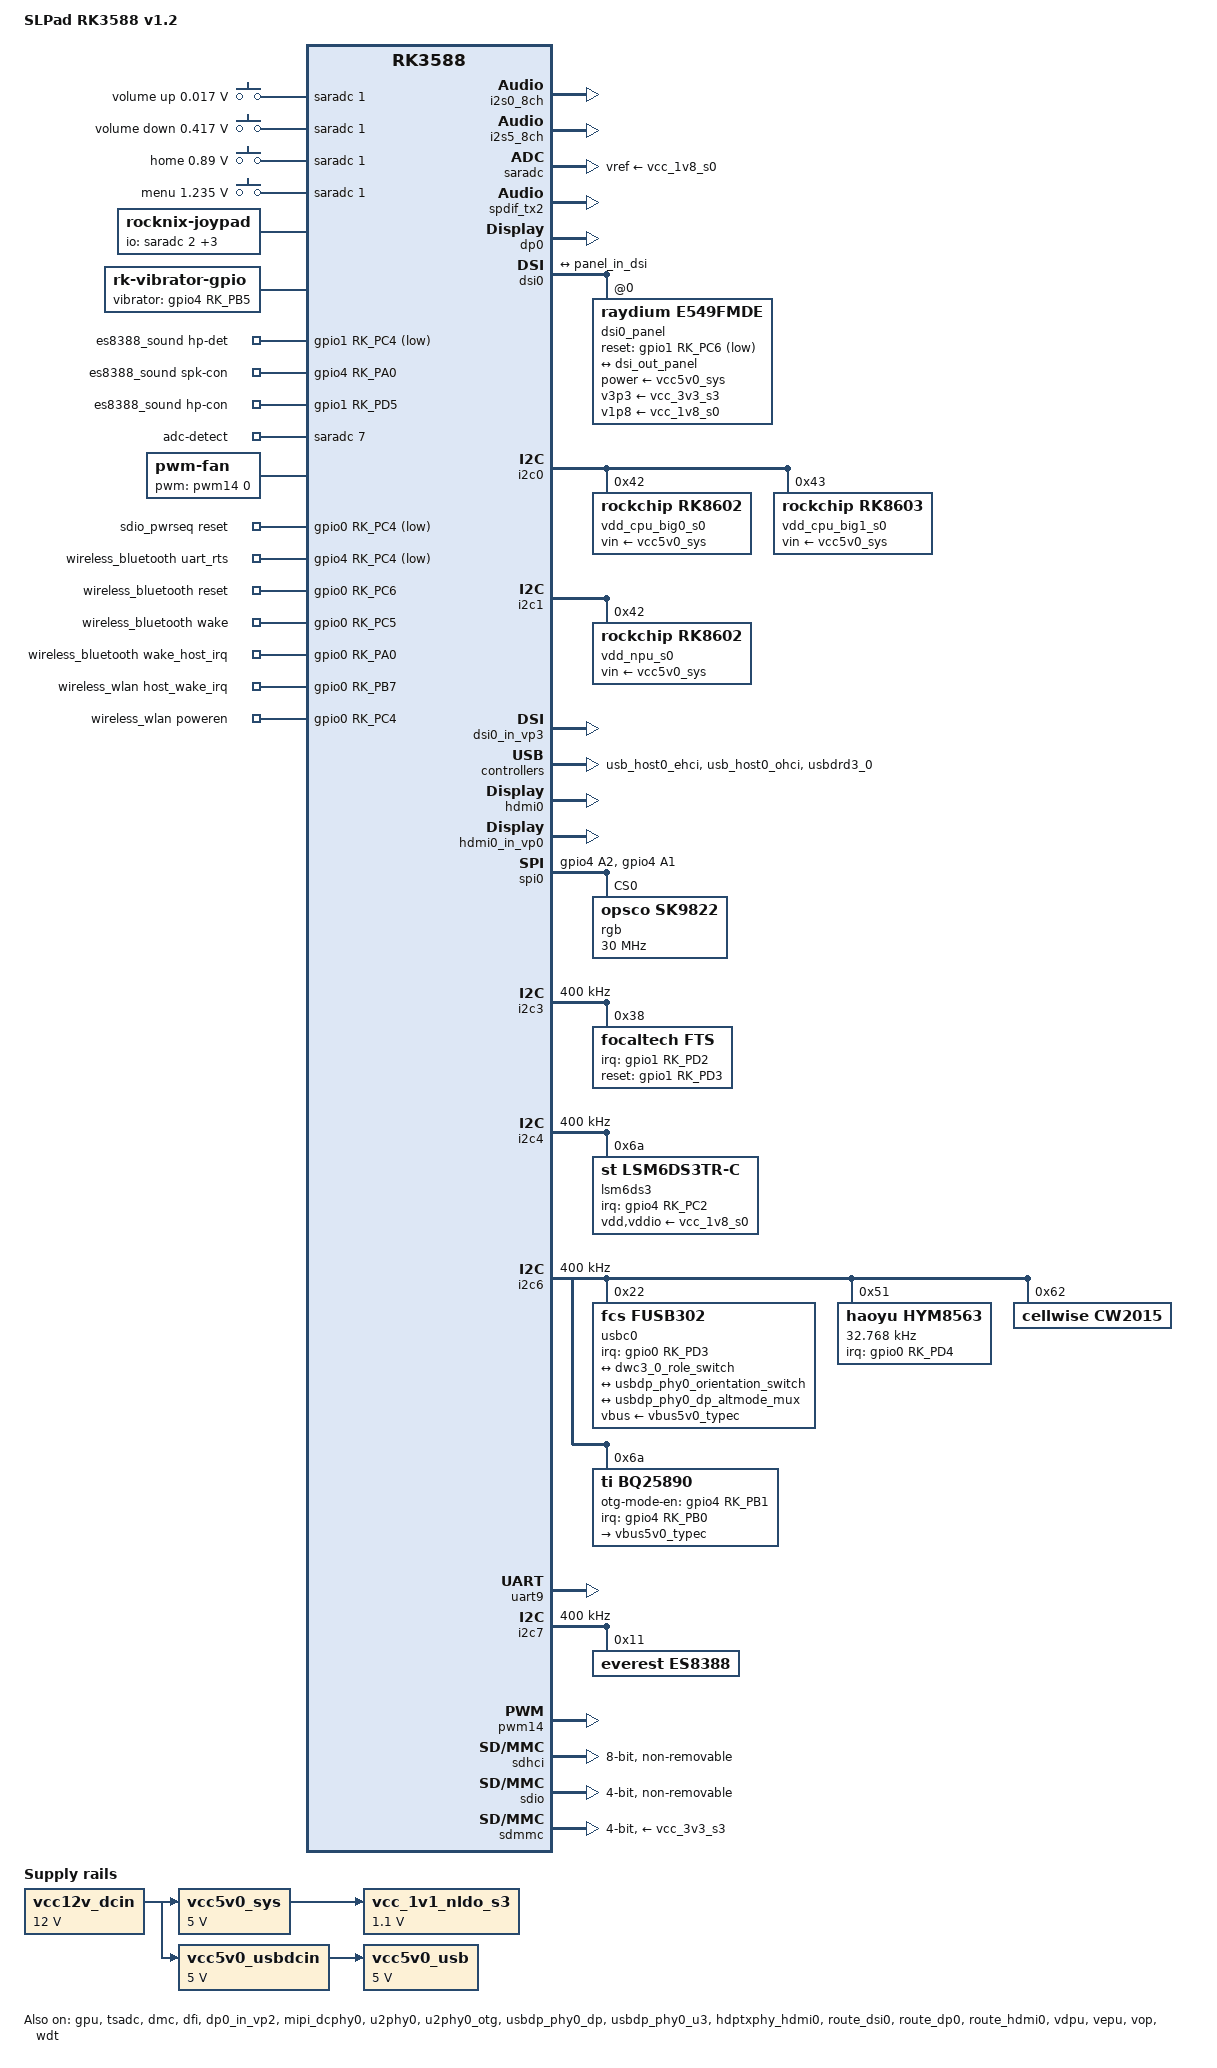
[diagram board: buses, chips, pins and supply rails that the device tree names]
// SPDX-License-Identifier: (GPL-2.0+ OR MIT)
/*
 * Copyright (c) 2021 Rockchip Electronics Co., Ltd.
 *
 */

/dts-v1/;
#include <dt-bindings/gpio/gpio.h>
#include <dt-bindings/pwm/pwm.h>
#include <dt-bindings/pinctrl/rockchip.h>
#include <dt-bindings/input/rk-input.h>
#include <dt-bindings/display/drm_mipi_dsi.h>
#include <dt-bindings/display/rockchip_vop.h>
#include <dt-bindings/sensor-dev.h>
#include "dt-bindings/usb/pd.h"
#include "dt-bindings/leds/common.h"
#include "rk3588.dtsi"
#include "rk3588-rk806-single.dtsi"
#include "rk3588-linux.dtsi"

/ {
	model = "SLPad RK3588 v1.2";
	compatible = "radxa,rock-5b", "rockchip,rk3588";
	
	/delete-node/ chosen;
	
	adc_keys: adc-keys {
		compatible = "adc-keys";
		io-channels = <&saradc 1>;
		io-channel-names = "buttons";
		keyup-threshold-microvolt = <1800000>;
		poll-interval = <100>;

		vol-up-key {
			label = "volume up";
			linux,code = <KEY_VOLUMEUP>;
			press-threshold-microvolt = <17000>;
		};

		vol-down-key {
			label = "volume down";
			linux,code = <KEY_VOLUMEDOWN>;
			press-threshold-microvolt = <417000>;
		};		

		home-key {
			label = "home";
			linux,code = <BTN_MODE>;
			press-threshold-microvolt = <890000>;
		};

		menu-key {
			label = "menu";
			linux,code = <KEY_APPSELECT>;
			press-threshold-microvolt = <1235000>;
		};
	};

	joypad: slpad-joypad {
		compatible = "rocknix-joypad";
		poll-interval = <10>;
		status = "okay";

		joypad-name = "Microsoft X-Box 360 pad";
		joypad-vendor = <0x045e>;
		joypad-product = <0x028e>;
		joypad-revision = <0x0503>;

		/* Analog sticks */
		io-channels = <&saradc 2>, <&saradc 3>, <&saradc 4>, <&saradc 5>;
		io-channel-names = "key-X", "key-Y", "key-RX", "key-RY";
		button-adc-scale = <4>;
		button-adc-deadzone = <150>;
		button-adc-fuzz = <32>;
		button-adc-flat = <32>;
		abs_x-p-tuning = <350>;
		abs_x-n-tuning = <350>;
		abs_y-p-tuning = <350>;
		abs_y-n-tuning = <350>;
		abs_rx-p-tuning = <350>;
		abs_rx-n-tuning = <350>;
		abs_ry-p-tuning = <350>;
		abs_ry-n-tuning = <350>;
		invert-absx;
		invert-absy;

		/* gpio pincontrol setup */
		pinctrl-names = "default";
		pinctrl-0 = <&btn_pins>;

		/* gpio button auto repeat set value : default disable */
		/*
			autorepeat;
		*/

		/*
						*** SLPad switch layout ***
		|-------------------------------------------------------|
		| sw15(b4) sw21(b6)                   sw20(b7) sw16(b5) |
		|-------------------------------------------------------|
		|        sw19(b12)|-------------------| sw22(b13)       |
		|                 |                   |                 |
		|     sw1(b8)     |                   |     sw8(b2)     |
		|sw3(b10) sw4(b11)|   OLED Display    | sw7(b3) sw5(b1) |
		|     sw2(b9)     |                   |     sw6(b0)     |
		|    sw11(b14)    |                   |    sw12(b15)    |
		|  menu(sys)      |-------------------|      home(sys)  |
		|                                                       |
		|-------------------------------------------------------|
		*/

		sw1 {
				gpios = <&gpio3 RK_PB0 GPIO_ACTIVE_LOW>;
				label = "GPIO DPAD-UP";
				linux,code = <ABS_HAT0Y>;
				linux,input-type = <EV_ABS>;
				linux,input-value = <0xffffffff>; /* -1 */
		};
		sw2 {
				gpios = <&gpio3 RK_PB1 GPIO_ACTIVE_LOW>;
				label = "GPIO DPAD-DOWN";
				linux,code = <ABS_HAT0Y>;
				linux,input-type = <EV_ABS>;
				linux,input-value= <1>;
		};
		sw3 {
				gpios = <&gpio3 RK_PB2 GPIO_ACTIVE_LOW>;
				label = "GPIO DPAD-LEFT";
				linux,code = <ABS_HAT0X>;
				linux,input-type = <EV_ABS>;
				linux,input-value = <0xffffffff>; /* -1 */
		};
		sw4 {
				gpios = <&gpio3 RK_PB3 GPIO_ACTIVE_LOW>;
				label = "GPIO DPAD-RIGHT";
				linux,code = <ABS_HAT0X>;
				linux,input-type = <EV_ABS>;
				linux,input-value= <1>;
		};
		sw5 {
				gpios = <&gpio3 RK_PA1 GPIO_ACTIVE_LOW>;
				label = "GPIO KEY BTN-A";
				linux,code = <BTN_SOUTH>;
		};
		sw6 {
				gpios = <&gpio3 RK_PA0 GPIO_ACTIVE_LOW>;
				label = "GPIO BTN-B";
				linux,code = <BTN_EAST>;
		};
		sw7 {
				gpios = <&gpio3 RK_PA2 GPIO_ACTIVE_LOW>;
				label = "GPIO BTN-Y";
				linux,code = <BTN_WEST>;
		};
		sw8 {
				gpios = <&gpio3 RK_PA3 GPIO_ACTIVE_LOW>;
				label = "GPIO BTN-X";
				linux,code = <BTN_NORTH>;
		};
		sw11 {
				gpios = <&gpio3 RK_PA6 GPIO_ACTIVE_HIGH>;
				label = "GPIO BTN-THUMBR";
				linux,code = <BTN_THUMBR>;
		};
		sw12 {
				gpios = <&gpio3 RK_PB6 GPIO_ACTIVE_HIGH>;
				label = "GPIO BTN-THUMBL";
				linux,code = <BTN_THUMBL>;
		};
		sw15 {
				gpios = <&gpio3 RK_PB4 GPIO_ACTIVE_LOW>;
				label = "GPIO BTN-L";
				linux,code = <BTN_TL>;
		};
		sw16 {
				gpios = <&gpio3 RK_PA4 GPIO_ACTIVE_LOW>;
				label = "GPIO BTN-R";
				linux,code = <BTN_TR>;
		};
		sw19 {
				gpios = <&gpio3 RK_PB7 GPIO_ACTIVE_LOW>;
				label = "GPIO BTN-SELECT";
				linux,code = <BTN_SELECT>;
		};
		sw20 {
				gpios = <&gpio3 RK_PA5 GPIO_ACTIVE_LOW>;
				label = "GPIO BTN-ZR";
				linux,code = <ABS_RZ>;
				linux,input-type = <EV_ABS>;
				linux,input-value= <255>;
		};
		sw21 {
				gpios = <&gpio3 RK_PB5 GPIO_ACTIVE_LOW>;
				label = "GPIO BTN-ZL";
				linux,code = <ABS_Z>;
				linux,input-type = <EV_ABS>;
				linux,input-value= <255>;
		};
		sw22 {
				gpios = <&gpio3 RK_PA7 GPIO_ACTIVE_LOW>;
				label = "GPIO BTN-START";
				linux,code = <BTN_START>;
		};
	};

	vibrator {
		compatible = "rk-vibrator-gpio";
		status = "okay";
		vibrator-gpio = <&gpio4 RK_PB5 GPIO_ACTIVE_HIGH>;
	};

	/* If hdmirx node is disabled, delete the reserved-memory node here. */
	// reserved-memory {
	// 	#address-cells = <2>;
	// 	#size-cells = <2>;
	// 	ranges;

	// 	/* Reserve 128MB memory for hdmirx-controller@fdee0000 */
	// 	cma {
	// 		compatible = "shared-dma-pool";
	// 		reusable;
	// 		reg = <0x0 (256 * 0x100000) 0x0 (128 * 0x100000)>;
	// 		linux,cma-default;
	// 	};
	// };

	es8388_sound: es8388-sound {
		status = "okay";
		compatible = "rockchip,multicodecs-card";
		rockchip,card-name = "rockchip-es8388";
		hp-det-gpio = <&gpio1 RK_PC4 GPIO_ACTIVE_LOW>;
		io-channels = <&saradc 7>;
		io-channel-names = "adc-detect";
		keyup-threshold-microvolt = <1800000>;
		poll-interval = <100>;
		spk-con-gpio = <&gpio4 RK_PA0 GPIO_ACTIVE_HIGH>;
		hp-con-gpio = <&gpio1 RK_PD5 GPIO_ACTIVE_HIGH>;
		rockchip,aw8733-mode = <3>;
		rockchip,format = "i2s";
		rockchip,mclk-fs = <256>;
		rockchip,cpu = <&i2s0_8ch>;
		rockchip,codec = <&es8388>;
		rockchip,audio-routing =
			"Headphone", "LOUT1",
			"Headphone", "ROUT1",
			"Speaker", "LOUT2",
			"Speaker", "ROUT2",
			"Headphone", "Headphone Power",
			"Headphone", "Headphone Power",
			"Speaker", "Speaker Power",
			"Speaker", "Speaker Power",
			"LINPUT1", "Main Mic",
			"LINPUT2", "Main Mic",
			"RINPUT1", "Headset Mic",
			"RINPUT2", "Headset Mic";
		pinctrl-names = "default";
		pinctrl-0 = <&hp_det>;
		play-pause-key {
			label = "playpause";
			linux,code = <KEY_PLAYPAUSE>;
			press-threshold-microvolt = <2000>;
		};
	};

	fan: pwm-fan {
		compatible = "pwm-fan";
		#cooling-cells = <2>;
		pwms = <&pwm14 0 50000 0>;
		cooling-levels = <0 70 130 180 200 255>;
		rockchip,temp-trips = <
			45000	1
			50000	2
			55000	3
			60000	4
			65000	5
		>;
	};

	charge-animation {
		compatible = "rockchip,uboot-charge";
		rockchip,uboot-charge-on = <1>;
		rockchip,android-charge-on = <0>;
		rockchip,uboot-low-power-voltage = <3300>;
		rockchip,screen-on-voltage = <3400>;
		rockchip,uboot-exit-charge-level = <2>;
		rockchip,uboot-exit-charge-auto = <1>;
		rockchip,system-suspend = <1>;
		regulator-on-in-mem = <&vdd_log_s0>, <&vcc_2v0_pldo_s3>,
			<&vdd2_ddr_s3>, <&vcc_1v8_s3>, <&avcc_1v8_s0>,
			<&vdd_0v75_s3>, <&pldo6_s3>, <&vcc_3v3_s3>;

		regulator-off-in-mem = <&vdd_gpu_s0>, <&vdd_npu_s0>,
			<&vdd_vdenc_s0>, <&vdd_gpu_mem_s0>, <&vdd_npu_mem_s0>,
			<&vdd_vdenc_mem_s0>, <&vcc_1v8_s0>, <&vcc_3v3_s0>,
			<&vccio_sd_s0>, <&avdd_0v75_s0>, <&vdd_0v85_s0>,
			<&vdd_cpu_big1_s0>, <&vdd_cpu_big0_s0>, <&vdd_cpu_lit_s0>,
			<&vdd_cpu_big1_mem_s0>, <&vdd_cpu_big0_mem_s0>, <&vdd_cpu_lit_mem_s0>,
			<&vddq_ddr_s0>, <&vdd_ddr_s0>, <&vdd_ddr_pll_s0>,
			<&avdd_1v2_s0>, <&vdd_0v75_s0>;
		status = "okay";
	};

	hdmi0_sound: hdmi0-sound {
		status = "okay";
		compatible = "rockchip,hdmi";
		rockchip,mclk-fs = <128>;
		rockchip,card-name = "rockchip-hdmi0";
		rockchip,cpu = <&i2s5_8ch>;
		rockchip,codec = <&hdmi0>;
		rockchip,jack-det;
	};

	hdmi1_sound: hdmi1-sound {
		status = "disabled";
		compatible = "rockchip,hdmi";
		rockchip,mclk-fs = <128>;
		rockchip,card-name = "rockchip-hdmi1";
		rockchip,cpu = <&i2s6_8ch>;
		rockchip,codec = <&hdmi1>;
		rockchip,jack-det;
	};

	dp0_sound: dp0-sound {
		status = "okay";
		compatible = "rockchip,hdmi";
		rockchip,card-name= "rockchip,dp0";
		rockchip,mclk-fs = <512>;
		rockchip,cpu = <&spdif_tx2>;
		rockchip,codec = <&dp0 1>;
		rockchip,jack-det;
	};

	vcc12v_dcin: vcc12v-dcin {
		compatible = "regulator-fixed";
		regulator-name = "vcc12v_dcin";
		regulator-always-on;
		regulator-boot-on;
		regulator-min-microvolt = <12000000>;
		regulator-max-microvolt = <12000000>;
	};

	vcc5v0_sys: vcc5v0-sys {
		compatible = "regulator-fixed";
		regulator-name = "vcc5v0_sys";
		regulator-always-on;
		regulator-boot-on;
		regulator-min-microvolt = <5000000>;
		regulator-max-microvolt = <5000000>;
		vin-supply = <&vcc12v_dcin>;
	};

	vcc_1v1_nldo_s3: vcc-1v1-nldo-s3 {
		compatible = "regulator-fixed";
		regulator-name = "vcc_1v1_nldo_s3";
		regulator-always-on;
		regulator-boot-on;
		regulator-min-microvolt = <1100000>;
		regulator-max-microvolt = <1100000>;
		vin-supply = <&vcc5v0_sys>;
	};

	vcc5v0_usbdcin: vcc5v0-usbdcin {
		compatible = "regulator-fixed";
		regulator-name = "vcc5v0_usbdcin";
		regulator-always-on;
		regulator-boot-on;
		regulator-min-microvolt = <5000000>;
		regulator-max-microvolt = <5000000>;
		vin-supply = <&vcc12v_dcin>;
	};

	vcc5v0_usb: vcc5v0-usb {
		compatible = "regulator-fixed";
		regulator-name = "vcc5v0_usb";
		regulator-always-on;
		regulator-boot-on;
		regulator-min-microvolt = <5000000>;
		regulator-max-microvolt = <5000000>;
		vin-supply = <&vcc5v0_usbdcin>;
	};

	sdio_pwrseq: sdio-pwrseq {
		compatible = "mmc-pwrseq-simple";
		clocks = <&hym8563>;
		clock-names = "ext_clock";
		pinctrl-names = "default";
		pinctrl-0 = <&wifi_enable_h>;
		/*
		 * On the module itself this is one of these (depending
		 * on the actual card populated):
		 * - SDIO_RESET_L_WL_REG_ON
		 * - PDN (power down when low)
		 */
		post-power-on-delay-ms = <200>;
		reset-gpios = <&gpio0 RK_PC4 GPIO_ACTIVE_LOW>;
	};

	wireless_bluetooth: wireless-bluetooth {
		compatible = "bluetooth-platdata";
		clocks = <&hym8563>;
		clock-names = "ext_clock";
		uart_rts_gpios = <&gpio4 RK_PC4 GPIO_ACTIVE_LOW>;
		pinctrl-names = "default", "rts_gpio";
		pinctrl-0 = <&uart9m0_rtsn>,  <&bt_gpio>;
		pinctrl-1 = <&uart9_gpios>;
		BT,reset_gpio    = <&gpio0 RK_PC6 GPIO_ACTIVE_HIGH>;
		BT,wake_gpio     = <&gpio0 RK_PC5 GPIO_ACTIVE_HIGH>;
		BT,wake_host_irq = <&gpio0 RK_PA0 GPIO_ACTIVE_HIGH>;
		status = "okay";
	};

	wireless_wlan: wireless-wlan {
		compatible = "wlan-platdata";
		wifi_chip_type = "ap6398sv";
		pinctrl-names = "default";
		pinctrl-0 = <&wifi_host_wake_irq>;
		WIFI,host_wake_irq = <&gpio0 RK_PB7 GPIO_ACTIVE_HIGH>;
		WIFI,poweren_gpio = <&gpio0 RK_PC4 GPIO_ACTIVE_HIGH>;
		status = "okay";
	};
};

&i2s0_8ch {
	status = "okay";
	pinctrl-0 = <&i2s0_lrck
		     &i2s0_sclk
		     &i2s0_sdi0
		     &i2s0_sdo0>;
};

&i2s5_8ch {
	status = "okay";
};

&av1d_mmu {
	status = "okay";
};

&cpu_l0 {
	cpu-supply = <&vdd_cpu_lit_s0>;
	mem-supply = <&vdd_cpu_lit_mem_s0>;
};

&cpu_b0 {
	cpu-supply = <&vdd_cpu_big0_s0>;
	mem-supply = <&vdd_cpu_big0_mem_s0>;
};

&cpu_b2 {
	cpu-supply = <&vdd_cpu_big1_s0>;
	mem-supply = <&vdd_cpu_big1_mem_s0>;
};

&gpu {
	mali-supply = <&vdd_gpu_s0>;
	mem-supply = <&vdd_gpu_mem_s0>;
	status = "okay";
};

// &iep {
// 	status = "okay";
// };

// &iep_mmu {
// 	status = "okay";
// };

// &jpegd {
// 	status = "okay";
// };

// &jpegd_mmu {
// 	status = "okay";
// };

// &jpege_ccu {
// 	status = "okay";
// };

// &jpege0 {
// 	status = "okay";
// };

// &jpege0_mmu {
// 	status = "okay";
// };

// &jpege1 {
// 	status = "okay";
// };

// &jpege1_mmu {
// 	status = "okay";
// };

// &jpege2 {
// 	status = "okay";
// };

// &jpege2_mmu {
// 	status = "okay";
// };

// &jpege3 {
// 	status = "okay";
// };

// &jpege3_mmu {
// 	status = "okay";
// };

// &mpp_srv {
// 	status = "okay";
// };

// &rga3_core0 {
// 	status = "okay";
// };

// &rga3_0_mmu {
// 	status = "okay";
// };

// &rga3_core1 {
// 	status = "okay";
// };

// &rga3_1_mmu {
// 	status = "okay";
// };

// &rga2 {
// 	status = "okay";
// };

// &rknpu {
// 	rknpu-supply = <&vdd_npu_s0>;
// 	mem-supply = <&vdd_npu_mem_s0>;
// 	status = "okay";
// };

// &rknpu_mmu {
// 	status = "okay";
// };

// &rkvdec_ccu {
// 	status = "okay";
// };

// &rkvdec0 {
// 	status = "okay";
// };

// &rkvdec0_mmu {
// 	status = "okay";
// };

// &rkvdec1 {
// 	status = "okay";
// };

// &rkvdec1_mmu {
// 	status = "okay";
// };

// &rkvenc_ccu {
// 	status = "okay";
// };

// &rkvenc0 {
// 	status = "okay";
// };

// &rkvenc0_mmu {
// 	status = "okay";
// };

// &rkvenc1 {
// 	status = "okay";
// };

// &rkvenc1_mmu {
// 	status = "okay";
// };

&rockchip_suspend {
	status = "okay";
	rockchip,sleep-debug-en = <1>;
	rockchip,sleep-mode-config = <
		(0
		| RKPM_SLP_ARMOFF_LOGOFF
		| RKPM_SLP_PMU_PMUALIVE_32K
		| RKPM_SLP_PMU_DIS_OSC
		| RKPM_SLP_32K_EXT
		)
	>;
	rockchip,wakeup-config = <
		(0
		| RKPM_GPIO_WKUP_EN
		)
	>;
};

&saradc {
	status = "okay";
	vref-supply = <&vcc_1v8_s0>;
};

&tsadc {
	status = "okay";
};

&spdif_tx2 {
	status = "okay";
};

&dmc {
	center-supply = <&vdd_ddr_s0>;
	mem-supply = <&vdd_log_s0>;
	status = "okay";
};

&dfi {
	status = "okay";
};

&dp0 {
	status = "okay";
};

&dp0_in_vp2 {
	status = "okay";
};

/*
 * mipi_dcphy0 needs to be enabled
 * when dsi0 is enabled
 */
&mipi_dcphy0 {
	status = "okay";
};

&mipi_dcphy1 {
	status = "disabled";
};

&dsi0 {
	status = "okay";
	//rockchip,lane-rate = <1000>;
	dsi0_panel: panel@0 {
		status = "okay";
		compatible = "raydium,e549fmde";
		reg = <0>;
		power-supply = <&vcc5v0_sys>;
		cmd_later_reset = <0>;
		//backlight = <&backlight>;
		v3p3-supply = <&vcc_3v3_s3>;
		v1p8-supply = <&vcc_1v8_s0>;
		dsi-lanes = <4>;
		reset-gpios = <&gpio1 RK_PC6 GPIO_ACTIVE_LOW>;

		pinctrl-names = "default";
		pinctrl-0 = <&lcd_rst_gpio>;
		reset-delay-ms = <20>;
		init-delay-ms = <20>;
		enable-delay-ms = <120>;
		prepare-delay-ms = <120>;
		unprepare-delay-ms = <10>;
		disable-delay-ms = <60>;
		width-mm = <121>;
		height-mm = <68>;
		dsi,flags = <(MIPI_DSI_MODE_VIDEO | MIPI_DSI_MODE_VIDEO_BURST |
			MIPI_DSI_MODE_LPM | MIPI_DSI_MODE_EOT_PACKET)>;
		dsi,format = <MIPI_DSI_FMT_RGB888>;
		dsi,lanes  = <4>;
		panel-init-sequence = [
			15 00 02 FE 0E
			15 00 02 4B 00
			15 00 02 4C 0F
			15 00 02 4D 20
			15 00 02 4E 40
			15 00 02 4F 60
			15 00 02 50 A0
			15 00 02 51 C0
			15 00 02 52 E0
			15 00 02 53 FF

			15 00 02 FE 0D
			15 00 02 18 08
			15 00 02 42 01
			15 00 02 08 41
			15 00 02 46 02
			15 00 02 72 09

			15 00 02 FE 0A
			15 00 02 24 17
			15 00 02 04 07
			15 00 02 1A 0C
			15 00 02 0F 44

			15 00 02 FE 04
			15 00 02 00 0C
			15 00 02 0A E6
			15 00 02 0B 8C
			15 00 02 1A 12
			15 00 02 29 93
			15 00 02 2A 93
			15 00 02 2F 02
			15 00 02 31 02
			15 00 02 33 05
			15 00 02 37 2D
			15 00 02 38 3D
			15 00 02 3A 1E
			15 00 02 3B 1E
			15 00 02 3D 27
			15 00 02 3F 80
			15 00 02 40 40
			15 00 02 41 E0
			15 00 02 4F 3F
			15 00 02 50 1E

			15 00 02 FE 06
			15 00 02 00 CC
			15 00 02 05 05
			15 00 02 07 A2
			15 00 02 08 CC
			15 00 02 0D 03
			15 00 02 0F A2
			15 00 02 32 CC
			15 00 02 37 05
			15 00 02 39 83
			15 00 02 3A CC
			15 00 02 41 04
			15 00 02 43 83
			15 00 02 44 CC
			15 00 02 49 05
			15 00 02 4B A2
			15 00 02 4C CC
			15 00 02 51 03
			15 00 02 4B A2
			15 00 02 4C CC
			15 00 02 51 03
			15 00 02 53 A2
			15 00 02 75 CC
			15 00 02 7A 03
			15 00 02 7C 83
			15 00 02 7D CC
			15 00 02 82 02
			15 00 02 84 83
			15 00 02 85 EC
			15 00 02 86 0F
			15 00 02 87 FF
			15 00 02 88 00
			15 00 02 8A 02
			15 00 02 8C A2
			15 00 02 8D EA
			15 00 02 8E 01
			15 00 02 8F E8
			15 00 02 90 0A
			15 00 02 92 06
			15 00 02 93 A0
			15 00 02 94 A8
			15 00 02 95 EC
			15 00 02 96 0F
			15 00 02 97 FF
			15 00 02 98 00
			15 00 02 9A 02
			15 00 02 9C A2
			15 00 02 AC 04
			15 00 02 B1 12
			15 00 02 B2 17
			15 00 02 B3 17
			15 00 02 B4 17
			15 00 02 B5 17
			15 00 02 B6 11
			15 00 02 B7 08
			15 00 02 B8 09
			15 00 02 B9 06
			15 00 02 BA 07
			15 00 02 BB 17
			15 00 02 BC 17
			15 00 02 BD 17
			15 00 02 BE 17
			15 00 02 BF 17
			15 00 02 C0 17
			15 00 02 C1 17
			15 00 02 C2 17
			15 00 02 C3 17
			15 00 02 C4 0F
			15 00 02 C5 0E
			15 00 02 C6 00
			15 00 02 C7 01
			15 00 02 C8 10

			15 00 02 FE 00
			15 00 02 C2 08
			15 00 02 35 00
			39 00 03 44 03 80

			15 00 02 51 FF

			05 78 01 11
			05 64 01 29
		];

		panel-exit-sequence = [
			05 00 01 28
			05 00 01 10
		];

		disp_timings0: display-timings {
			native-mode = <&dsi0_timing0>;
			dsi0_timing0: timing0 {
				clock-frequency = <135000000>;
				hactive = <1080>;
				vactive = <1920>;
				hback-porch = <36>;
				hfront-porch = <26>;
				vback-porch = <16>;
				vfront-porch = <8>;
				hsync-len = <2>;
				vsync-len = <4>;
                hsync-active = <0>;
                vsync-active = <0>;
                de-active = <0>;
                pixelclk-active = <0>;
			};
		};

		ports {
			#address-cells = <1>;
			#size-cells = <0>;

			port@0 {
				reg = <0>;
				panel_in_dsi: endpoint {
					remote-endpoint = <&dsi_out_panel>;
				};
			};
		};
	};

	ports {
		#address-cells = <1>;
		#size-cells = <0>;

		port@1 {
			reg = <1>;
			dsi_out_panel: endpoint {
				remote-endpoint = <&panel_in_dsi>;
			};
		};
	};

};

&i2c0 {
	status = "okay";
	pinctrl-names = "default";
	pinctrl-0 = <&i2c0m2_xfer>;

	vdd_cpu_big0_s0: vdd_cpu_big0_mem_s0: rk8602@42 {
		compatible = "rockchip,rk8602";
		reg = <0x42>;
		vin-supply = <&vcc5v0_sys>;
		regulator-compatible = "rk860x-reg";
		regulator-name = "vdd_cpu_big0_s0";
		regulator-min-microvolt = <550000>;
		regulator-max-microvolt = <1050000>;
		regulator-ramp-delay = <2300>;
		rockchip,suspend-voltage-selector = <1>;
		regulator-boot-on;
		regulator-always-on;
		regulator-state-mem {
			regulator-off-in-suspend;
		};
	};

	vdd_cpu_big1_s0: vdd_cpu_big1_mem_s0: rk8603@43 {
		compatible = "rockchip,rk8603";
		reg = <0x43>;
		vin-supply = <&vcc5v0_sys>;
		regulator-compatible = "rk860x-reg";
		regulator-name = "vdd_cpu_big1_s0";
		regulator-min-microvolt = <550000>;
		regulator-max-microvolt = <1050000>;
		regulator-ramp-delay = <2300>;
		rockchip,suspend-voltage-selector = <1>;
		regulator-boot-on;
		regulator-always-on;
		regulator-state-mem {
			regulator-off-in-suspend;
		};
	};
};

&i2c1 {
	status = "okay";
	pinctrl-names = "default";
	pinctrl-0 = <&i2c1m2_xfer>;

	vdd_npu_s0: vdd_npu_mem_s0: rk8602@42 {
		compatible = "rockchip,rk8602";
		reg = <0x42>;
		vin-supply = <&vcc5v0_sys>;
		regulator-compatible = "rk860x-reg";
		regulator-name = "vdd_npu_s0";
		regulator-min-microvolt = <550000>;
		regulator-max-microvolt = <950000>;
		regulator-ramp-delay = <2300>;
		rockchip,suspend-voltage-selector = <1>;
		regulator-boot-on;
		regulator-always-on;
		regulator-state-mem {
			regulator-off-in-suspend;
		};
	};
};

&dsi0_in_vp3 {
	status = "okay";
};

&u2phy0 {
	status = "okay";
};

&u2phy0_otg {
	status = "okay";
	rockchip,typec-vbus-det;
};

&usb_host0_ehci {
	status = "okay";
};

&usb_host0_ohci {
	status = "okay";
};

&usbdp_phy0_dp {
	status = "okay";
};

&usbdp_phy0_u3 {
	status = "okay";
};

&usbdrd3_0 {
	status = "okay";
};

&hdmi0 {
	status = "okay";
};

&hdmi0_in_vp0 {
	status = "okay";
};

&hdptxphy_hdmi0 {
	status = "okay";
};

&spi0 {
    status = "okay";
    pinctrl-0 = <&spi0usr_pins>;
    
    rgb@0 {
        compatible = "opsco,sk9822";
		status = "okay";
        reg = <0>;
        spi-max-frequency = <30000000>;
        #address-cells = <1>;
		#size-cells = <0>;
		led@0 {
			reg = <0>;
			label = "led1";
		};
    };
};

&i2c3 {
	status = "okay";
	clock-frequency = <400000>;
	focaltech@38 {
		status = "okay";
		compatible = "focaltech,fts";
		reg = <0x38>;

		interrupt-parent = <&gpio1>;
		interrupts = <RK_PD2 IRQ_TYPE_EDGE_FALLING>;

		pinctrl-names = "default";
		pinctrl-0 = <&tp_gpio>;

		focaltech,irq-gpio = <&gpio1 RK_PD2 IRQ_TYPE_EDGE_FALLING>;
		focaltech,reset-gpio = <&gpio1 RK_PD3 GPIO_ACTIVE_HIGH>;
		focaltech,max-touch-number = <6>;
		focaltech,display-coords =  <0 0 1079 1919>;
		focaltech,touchscreen-inverted-x;
		focaltech,touchscreen-inverted-y;
	};
};

&i2c4 {
	status = "okay";
	clock-frequency = <400000>;
	pinctrl-names = "default";
	pinctrl-0 = <&i2c4m1_xfer>;

	lsm6ds3@6a {
		compatible = "st,lsm6ds3tr-c";
		status = "okay";
		reg = <0x6a>;
		interrupt-parent = <&gpio4>;
		interrupts = <RK_PC2 IRQ_TYPE_LEVEL_HIGH>;
		pinctrl-names = "default";
		pinctrl-0 = <&gyr_int_l>;
		vdd-supply = <&vcc_1v8_s0>;
		vddio-supply = <&vcc_1v8_s0>;
		st,drdy-int-pin = <1>;
		st,module_id = <5>;
	};
};

&i2c6 {
	status = "okay";
	clock-frequency = <400000>;
	usbc0: fusb302@22 {
		compatible = "fcs,fusb302";
		reg = <0x22>;
		interrupt-parent = <&gpio0>;
		interrupts = <RK_PD3 IRQ_TYPE_LEVEL_LOW>;
		pinctrl-names = "default";
		pinctrl-0 = <&usbc0_int>;
		vbus-supply = <&vbus5v0_typec>;
		charge-dev = <&bq25890>;
		status = "okay";

		ports {
			#address-cells = <1>;
			#size-cells = <0>;

			port@0 {
				reg = <0>;
				usbc0_role_sw: endpoint@0 {
					remote-endpoint = <&dwc3_0_role_switch>;
				};
			};
		};

		usb_con: connector {
			compatible = "usb-c-connector";
			label = "USB-C";
			data-role = "dual";
			power-role = "dual";
			try-power-role = "sink";
			op-sink-microwatt = <1000000>;
			sink-pdos = 
				<PDO_FIXED(5000, 3000, PDO_FIXED_USB_COMM)
				 PDO_FIXED(9000, 3000, PDO_FIXED_USB_COMM)
				 PDO_FIXED(12000, 3000, PDO_FIXED_USB_COMM)>;
			source-pdos =
				<PDO_FIXED(5000, 3000, PDO_FIXED_USB_COMM)>;

			altmodes {
				#address-cells = <1>;
				#size-cells = <0>;

				altmode@0 {
					reg = <0>;
					svid = <0xff01>;
					vdo = <0xffffffff>;
				};
			};

			ports {
				#address-cells = <1>;
				#size-cells = <0>;

				port@0 {
					reg = <0>;
					usbc0_orien_sw: endpoint {
						remote-endpoint = <&usbdp_phy0_orientation_switch>;
					};
				};

				port@1 {
					reg = <1>;
					dp_altmode_mux: endpoint {
						remote-endpoint = <&usbdp_phy0_dp_altmode_mux>;
					};
				};
			};
		};
	};

	hym8563: hym8563@51 {
		status = "okay";
		compatible = "haoyu,hym8563";
		reg = <0x51>;
		#clock-cells = <0>;
		clock-frequency = <32768>;
		clock-output-names = "hym8563";
		pinctrl-names = "default";
		pinctrl-0 = <&hym8563_int>;
		interrupt-parent = <&gpio0>;
		interrupts = <RK_PD4 IRQ_TYPE_LEVEL_LOW>;
		wakeup-source;
	};	

	cw2015@62 {
		status = "okay";
		compatible = "cellwise,cw2015";
		reg = <0x62>;
		cellwise,battery-profile = /bits/ 8
			<0x18 0x0A 0x68 0x68 0x6B 0x6B 0x69 0x67
			 0x63 0x61 0x5E 0x61 0x5E 0x53 0x46 0x3F
			 0x36 0x30 0x29 0x26 0x2C 0x37 0x44 0x4E
			 0x1E 0x6F 0x0A 0x3E 0x18 0x31 0x52 0x60
			 0x6F 0x6E 0x6E 0x70 0x3E 0x1B 0x6E 0x5F
			 0x0B 0x2F 0x21 0x4F 0x89 0x92 0x96 0x1B
			 0x49 0x69 0x9D 0xBC 0x80 0x5C 0x7F 0xCB
			 0x2F 0x00 0x64 0xA5 0xB5 0xC1 0x46 0xAE>;
		cellwise,monitor-interval-ms = <5000>;
		power-supplies = <&bq25890>;
	};

	bq25890: charger@6a {
		status = "okay";
		compatible = "ti,bq25890";
		reg = <0x6a>;
		pinctrl-names = "default";
		pinctrl-0 = <&charger_ok>;
		interrupt-parent = <&gpio4>;
		interrupts = <RK_PB0 IRQ_TYPE_EDGE_FALLING>;
		otg-mode-en-gpios = <&gpio4 RK_PB1 GPIO_ACTIVE_HIGH>;
		ti,usb-charger-detection = <&usbc0>;

		ti,battery-regulation-voltage = <4400000>; /* 4.4V */
		ti,charge-current = <5000000>; /* 5A */
		ti,termination-current = <66000>;  /* 66mA */
		ti,precharge-current = <130000>; /* 130mA */
		ti,minimum-sys-voltage = <3800000>; /* 3.8V */
		ti,boost-voltage = <5000000>; /* 5V */
		ti,boost-max-current = <2000000>; /* 2000mA */
		regulators {
			vbus5v0_typec: vbus5v0-typec {
				regulator-compatible = "otg-vbus";
				regulator-name = "vbus5v0_typec";
			};
		};
	};
};

&uart9 {
	status = "okay";
	pinctrl-names = "default";
	pinctrl-0 = <&uart9m0_xfer &uart9m0_ctsn>;
};


&i2c7 {
	status = "okay";
	clock-frequency = <400000>;
	es8388: es8388@11 {
		status = "okay";
		#sound-dai-cells = <0>;
		compatible = "everest,es8388", "everest,es8323";
		reg = <0x11>;
		clocks = <&mclkout_i2s0>;
		clock-names = "mclk";
		assigned-clocks = <&mclkout_i2s0>;
		assigned-clock-rates = <12288000>;
		pinctrl-names = "default";
		pinctrl-0 = <&i2s0_mclk>;
	};
};

&pinctrl {
	headphone {
		hp_det: hp-det {
			rockchip,pins = <1 RK_PC4 RK_FUNC_GPIO &pcfg_pull_up>;
		};
	};

	hym8563 {
		hym8563_int: hym8563-int {
			rockchip,pins = <0 RK_PB0 RK_FUNC_GPIO &pcfg_pull_up>;
		};
	};

	charger {
		charger_ok: charger_ok {
			rockchip,pins = <4 RK_PB0 RK_FUNC_GPIO &pcfg_pull_up>;
		};
	};

	wireless-bluetooth {
        uart9_gpios: uart9-gpios {
            rockchip,pins = <4 RK_PC4 RK_FUNC_GPIO &pcfg_pull_none>;
        };

        bt_gpio: bt-gpio {
            rockchip,pins = 
					<0 RK_PC6 RK_FUNC_GPIO &pcfg_pull_none>,
					<0 RK_PA0 RK_FUNC_GPIO &pcfg_pull_down>,
					<0 RK_PC5 RK_FUNC_GPIO &pcfg_pull_up>;
        };
	};

	sdio-pwrseq {
		wifi_enable_h: wifi-enable-h {
			rockchip,pins = <0 RK_PC4 RK_FUNC_GPIO &pcfg_pull_up>;
		};
	};

	wireless-wlan {
        wifi_host_wake_irq: wifi-host-wake-irq {
                rockchip,pins = <0 RK_PB7 RK_FUNC_GPIO &pcfg_pull_down>;
        };

        wifi_poweren_gpio: wifi-poweren-gpio {
                rockchip,pins = <0 RK_PC4 RK_FUNC_GPIO &pcfg_pull_up>;
        };
    };
	tp {
        tp_gpio: tp-gpio {
        	rockchip,pins = <1 RK_PD2 RK_FUNC_GPIO &pcfg_pull_none>,
        			<1 RK_PD3 RK_FUNC_GPIO &pcfg_pull_up>;
        };
    };

	lcd {
		lcd_rst_gpio: lcd-rst-gpio {
			rockchip,pins = <1 RK_PC6 RK_FUNC_GPIO &pcfg_pull_none>;
		};
    };

	spi0 {
		spi0usr_pins: spi0usr-pins {
			rockchip,pins =
				/* spi0_clk_m1 */
				<4 RK_PA2 8 &pcfg_pull_up_drv_level_6>,
				/* spi0_mosi_m1 */
				<4 RK_PA1 8 &pcfg_pull_up_drv_level_6>;
		};
    };

	usb-typec {
		usbc0_int: usbc0-int {
			rockchip,pins = <0 RK_PD3 RK_FUNC_GPIO &pcfg_pull_up>;
		};
	};

	lsm6ds3 {
		gyr_int_l: gyr-int-l {
			rockchip,pins = <4 RK_PC2 RK_FUNC_GPIO &pcfg_pull_none>;
		};
	};

	btns {
		btn_pins: btn-pins {
			rockchip,pins = <3 RK_PA0 RK_FUNC_GPIO &pcfg_pull_up>,
					<3 RK_PA1 RK_FUNC_GPIO &pcfg_pull_up>,
					<3 RK_PA2 RK_FUNC_GPIO &pcfg_pull_up>,
					<3 RK_PA3 RK_FUNC_GPIO &pcfg_pull_up>,
					<3 RK_PA4 RK_FUNC_GPIO &pcfg_pull_up>,
					<3 RK_PA5 RK_FUNC_GPIO &pcfg_pull_up>,
					<3 RK_PA6 RK_FUNC_GPIO &pcfg_pull_down>,
					<3 RK_PA7 RK_FUNC_GPIO &pcfg_pull_up>,
					<3 RK_PB0 RK_FUNC_GPIO &pcfg_pull_up>,
					<3 RK_PB1 RK_FUNC_GPIO &pcfg_pull_up>,
					<3 RK_PB2 RK_FUNC_GPIO &pcfg_pull_up>,
					<3 RK_PB3 RK_FUNC_GPIO &pcfg_pull_up>,
					<3 RK_PB4 RK_FUNC_GPIO &pcfg_pull_up>,
					<3 RK_PB5 RK_FUNC_GPIO &pcfg_pull_up>,
					<3 RK_PB6 RK_FUNC_GPIO &pcfg_pull_down>,
					<3 RK_PB7 RK_FUNC_GPIO &pcfg_pull_up>;
		};
	};
};

&pwm14 {
	status = "okay";
	pinctrl-names = "active";
	pinctrl-0 = <&pwm14m1_pins>;
};

&route_dsi0 {
	status = "okay";
	logo,uboot = "logo.bmp";
	logo,kernel = "logo_kernel.bmp";
	logo,mode = "center";
	logo,rotate = <90>;
	charge_logo,mode = "center";
	connect = <&vp3_out_dsi0>;
};

&route_dp0 {
	status = "okay";
	logo,uboot = "logo.bmp";
	logo,kernel = "logo_kernel.bmp";
	logo,mode = "center";
	logo,rotate = <90>;
	charge_logo,mode = "center";
	connect = <&vp2_out_dp0>;
};

&route_hdmi0 {
	status = "okay";
	logo,uboot = "logo.bmp";
	logo,kernel = "logo_kernel.bmp";
	logo,mode = "center";
	logo,rotate = <90>;
	charge_logo,mode = "center";
	connect = <&vp0_out_hdmi0>;
};

&sata0 {
	status = "disabled";
};

// emmc
&sdhci {
	bus-width = <8>;
	no-sdio;
	no-sd;
	supports-sd;
	non-removable;
	max-frequency = <200000000>;
	mmc-hs400-1_8v;
	mmc-hs400-enhanced-strobe;
	status = "okay";
};

// WLAN
&sdio {
	max-frequency = <150000000>;
	no-sd;
	no-mmc;
	bus-width = <4>;
	disable-wp;
	cap-sd-highspeed;
	cap-sdio-irq;
	keep-power-in-suspend;
	mmc-pwrseq = <&sdio_pwrseq>;
	non-removable;
	pinctrl-names = "default";
	pinctrl-0 = <&sdiom0_pins>;
	sd-uhs-sdr104;
	status = "okay";
};

// SDCARD
&sdmmc {
	max-frequency = <200000000>;
	no-sdio;
	no-mmc;
	bus-width = <4>;
	cap-mmc-highspeed;
	cap-sd-highspeed;
	disable-wp;
	sd-uhs-sdr104;
	supports-emmc;
	vmmc-supply = <&vcc_3v3_s3>;
	vqmmc-supply = <&vccio_sd_s0>;
	pinctrl-names = "default";
	pinctrl-0 = <&sdmmc_bus4 &sdmmc_clk &sdmmc_cmd &sdmmc_det>;
	status = "okay";
};



// #USB3.1/DP PHY0
&usbdp_phy0 {
	status = "disabled";
	orientation-switch;
	svid = <0xff01>;
	sbu1-dc-gpios = <&gpio4 RK_PA6 GPIO_ACTIVE_HIGH>;
	sbu2-dc-gpios = <&gpio4 RK_PA7 GPIO_ACTIVE_HIGH>;

	port {
		#address-cells = <1>;
		#size-cells = <0>;
		usbdp_phy0_orientation_switch: endpoint@0 {
			reg = <0>;
			remote-endpoint = <&usbc0_orien_sw>;
		};

		usbdp_phy0_dp_altmode_mux: endpoint@1 {
			reg = <1>;
			remote-endpoint = <&dp_altmode_mux>;
		};
	};
};

&usbdrd_dwc3_0 {
	status = "disabled";
	dr_mode = "otg";
	usb-role-switch;
	port {
		#address-cells = <1>;
		#size-cells = <0>;
		dwc3_0_role_switch: endpoint@0 {
			reg = <0>;
			remote-endpoint = <&usbc0_role_sw>;
		};
	};
};

&vdpu {
	status = "okay";
};

&vdpu_mmu {
	status = "okay";
};

&vepu {
	status = "okay";
};

&vop {
	status = "okay";
};

&vop_mmu {
	status = "okay";
};

/* vp0 & vp1 splice for 8K output */
&vp0 {
	rockchip,plane-mask = <(1 << ROCKCHIP_VOP2_CLUSTER0 | 1 << ROCKCHIP_VOP2_ESMART0)>;
	rockchip,primary-plane = <ROCKCHIP_VOP2_ESMART0>;
};

&vp1 {
	rockchip,plane-mask = <(1 << ROCKCHIP_VOP2_CLUSTER1 | 1 << ROCKCHIP_VOP2_ESMART1)>;
	rockchip,primary-plane = <ROCKCHIP_VOP2_ESMART1>;
};

&vp2 {
	rockchip,plane-mask = <(1 << ROCKCHIP_VOP2_CLUSTER2 | 1 << ROCKCHIP_VOP2_ESMART2)>;
	rockchip,primary-plane = <ROCKCHIP_VOP2_ESMART2>;
};

&vp3 {
	rockchip,plane-mask = <(1 << ROCKCHIP_VOP2_CLUSTER3 | 1 << ROCKCHIP_VOP2_ESMART3)>;
	rockchip,primary-plane = <ROCKCHIP_VOP2_ESMART3>;
};


// &display_subsystem {
// 	clocks = <&hdptxphy_hdmi_clk0>;
// 	clock-names = "hdmi0_phy_pll";
// };

// &hdptxphy_hdmi_clk0 {
// 	status = "okay";
// };

// &hdptxphy_hdmi1 {
// 	status = "okay";
// };

&wdt {
  status = "okay";
};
